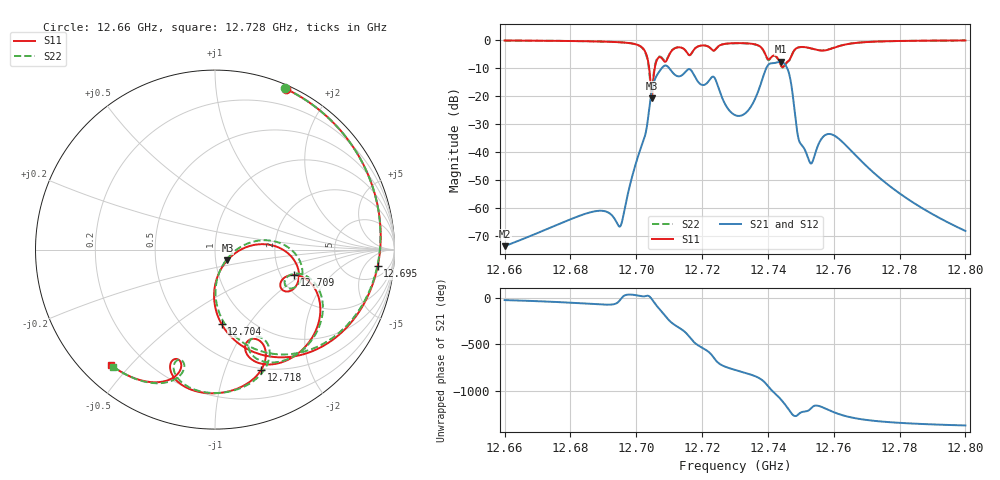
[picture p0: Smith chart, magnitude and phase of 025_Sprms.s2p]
! TOUCHSTONE file generated by CST MICROWAVE STUDIO
! Date and time: Wed Jul 31 11:53:54 2024
! Project name: WaveGuide_BPF-Ver4.1_U-shape_Ku_T3_C4_CWA_2.cst
! Parameters = {cavity_h=16; cavity_l0=10; cavity_l1=15.218; cavity_l2=16.8041; cavity_l3=17.1411; cavity_l4=17.256; cavity_l5=17.1597; cavity_l6=17.606; cavity_r=2.5; cavity_screw_l=0.5; cavity_screw_r=1.5; cavity_w=8; iris_h00=0; iris_h01=8.8219; iris_h112=0; iris_h12=5.5994; iris_h211=3.6643; iri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
! Header version: 2018
! Port assignment regex: !\s*Touchstone port\s*([0-9]+)\s*=\s*(CST MWS port|CST DS port)\s*([0-9]+|Zmin|Zmax)\s*\(\"(.*)\"\)(\s*mode\s*([0-9]+))?.*
! Touchstone port assignment:
! Touchstone port 1 = CST MWS port 1 ("")
! Touchstone port 2 = CST MWS port 2 ("")
# GHz S RI R 50
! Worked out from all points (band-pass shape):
!   5001 points, 12.66 GHz to 12.8 GHz, reference 50 ohm
!   highest |S21| = -7.71 dB at 12.744 GHz (marker M1); lowest = -73.5 dB at 12.66 GHz (marker M2)
!   |S21| within 3 dB of the highest: 12.70731 GHz to 12.71045 GHz (3.144 MHz wide, 0.0247 % of centre); 12.73926 GHz to 12.74609 GHz (6.834 MHz wide, 0.0536 % of centre) (the widest 2 of 3)
!   lowest |S11| = -20.8 dB at 12.705 GHz (marker M3), VSWR 1.20, Z = 57 - j6.78 ohm
!   |S11| at or under -10 dB: 12.70392 GHz to 12.70562 GHz (1.699 MHz wide, 0.0134 % of centre)
!   |S22| runs from -21.4 to -0.2 dB; largest |S21 - S12| = 1e-09
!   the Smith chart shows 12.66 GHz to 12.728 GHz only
!   S11 on the Smith chart (normalised r, x): 12.66 GHz: 0.04, +1.54; 12.695 GHz: 10, -11; 12.704 GHz: 0.75, -0.76; 12.709 GHz: 2.37, -0.85; 12.718 GHz: 0.49, -1.34; 12.728 GHz: 0.09, -0.44
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12.66  0.3975 0.8945  0.000188 -9.74e-05  0.000188 -9.74e-05  0.3893 0.8983
12.68335  0.8171 0.4926  0.000357 -0.00067  0.000357 -0.00067  0.8077 0.5091
12.69508  0.9065 -0.092  0.000429 -0.000207  0.000429 -0.000207  0.9094 -0.0659
12.7036  0.0376 -0.4166  0.0389 0.0129  0.0389 0.0129  0.0385 -0.3859
12.70472  0.0692 -0.059  0.1165 -0.0354  0.1165 -0.0354  0.091 -0.0253
12.70668  0.4658 -0.1191  -0.0804 -0.2448  -0.0804 -0.2448  0.4845 -0.0993
12.70948  0.4421 -0.1413  -0.241 0.2395  -0.241 0.2395  0.4597 -0.1334
12.71474  0.2348 -0.6286  0.2608 -0.0256  0.2608 -0.0256  0.2562 -0.6193
12.71796  0.2575 -0.6693  -0.1334 -0.1667  -0.1334 -0.1667  0.2822 -0.6572
12.72362  -0.2006 -0.6148  0.0559 0.2111  0.0559 0.2111  -0.1836 -0.6192
12.72787  -0.5786 -0.6446  0.0522 -0.0286  0.0522 -0.0286  -0.5664 -0.6523
12.73  -0.7278 -0.4903  0.0284 -0.036  0.0284 -0.036  -0.7203 -0.497
12.73955  -0.4218 0.2747  -0.2899 0.1349  -0.2899 0.1349  -0.4054 0.2758
12.74151  -0.4845 0.1955  0.0796 0.3787  0.0796 0.3787  -0.4771 0.1937
12.74383  -0.3031 0.2111  0.4114 -0.0166  0.4114 -0.0166  -0.2943 0.212
12.74649  -0.4322 0.0703  -0.1335 -0.2044  -0.1335 -0.2044  -0.4253 0.0736
12.74884  -0.6277 0.356  -0.0245 -0.00081  -0.0245 -0.00081  -0.618 0.365
12.75335  0.1145 0.693  -0.000263 -0.00644  -0.000263 -0.00644  0.1378 0.689
12.75727  0.6494 -0.0524  -0.00373 -0.0196  -0.00373 -0.0196  0.6557 -0.0616
12.76195  0.0396 -0.7875  -0.0162 -0.00363  -0.0162 -0.00363  0.0525 -0.7888
12.77668  -0.9226 -0.2366  -0.000942 0.00241  -0.000942 0.00241  -0.9193 -0.2466
12.8  -0.9328 0.3055  9.73e-05 0.000384  9.73e-05 0.000384  -0.9337 0.302
